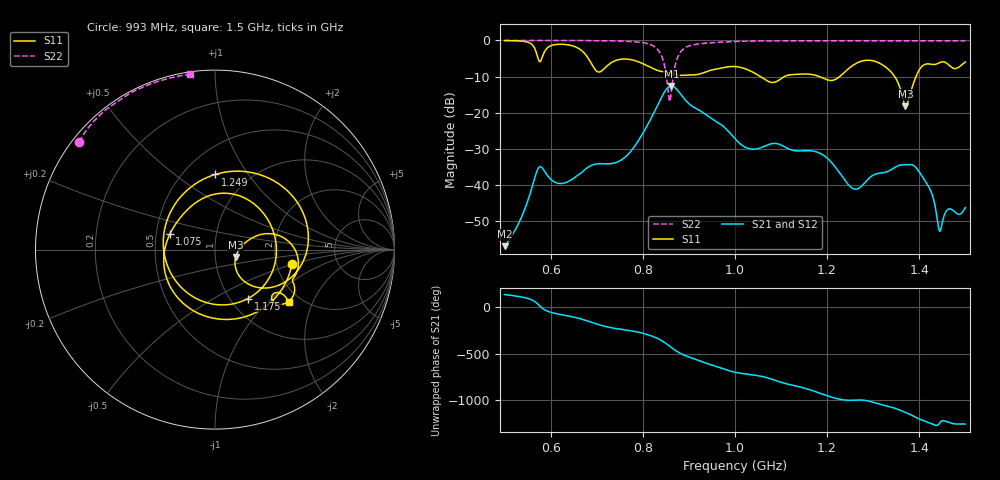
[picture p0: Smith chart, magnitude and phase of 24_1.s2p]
! TOUCHSTONE file generated by CST MICROWAVE STUDIO
! Date and time: Sat Nov 14 20:38:24 2020
! Project name: Scenario_1_Planar_Body_Tissue_Out_of_Line_v2.cst
! Parameters = {dy1=-51.9; L_HA=400; Ltissue=700; MT=2.54; Rad_Dielectric=30; Rad_Lower=7.3; Rad_Upper=30; Wtissue=700; a_HA=580; a_WG=246; b_HA=500; b_WG=121; c_HA=0; c_WG=187; d_feed=85; dx1=173; h_feed=15; h_lower=18; h_upper=40; hfat=3; hgap=25; hmuscle=50; hskin=1.5}
! Header version: 2018
! Port assignment regex: !\s*Touchstone port\s*([0-9]+)\s*=\s*(CST MWS port|CST DS port)\s*([0-9]+|Zmin|Zmax)\s*\(\"(.*)\"\)(\s*mode\s*([0-9]+))?.*
! Touchstone port assignment:
! Touchstone port 1 = CST MWS port 1 ("")
! Touchstone port 2 = CST MWS port 2 ("")
# GHz S DB R 50
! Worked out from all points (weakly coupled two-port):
!   1003 points, 500 MHz to 1.5 GHz, reference 50 ohm
!   highest |S21| = -12.63 dB at 862 MHz (marker M1); lowest = -57.0 dB at 500 MHz (marker M2)
!   lowest |S11| = -18.2 dB at 1.37 GHz (marker M3), VSWR 1.28, Z = 62.8 - j5.19 ohm
!   |S11| at or under -10 dB: 1.055 GHz to 1.107 GHz (52.21 MHz wide, 4.83 % of centre); 1.183 GHz to 1.227 GHz (44.25 MHz wide, 3.67 % of centre); 1.346 GHz to 1.393 GHz (46.34 MHz wide, 3.38 % of centre)
!   |S22| runs from -16.9 to 0.0 dB; largest |S21 - S12| = 3.9e-05
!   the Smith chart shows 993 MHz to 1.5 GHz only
!   S11 on the Smith chart (normalised r, x): 993 MHz: 2.43, -0.49; 1.075 GHz: 0.59, +0.11; 1.175 GHz: 1.20, -0.74; 1.249 GHz: 0.70, +0.71; 1.5 GHz: 1.72, -1.35
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0.5  -0.04 -121.8  -57.00 132.0  -57.00 132.0  -0.01 151.2
0.575  -5.75 -162.2  -35.11 16.1  -35.11 16.1  -0.02 146.0
0.627  -1.07 172.9  -39.57 -86.9  -39.57 -86.9  -0.03 142.0
0.667  -2.79 108.2  -36.64 -130.8  -36.64 -130.8  -0.04 138.4
0.692  -7.20 24.1  -34.44 -170.5  -34.44 -170.5  -0.06 135.8
0.716  -7.84 -93.3  -34.18 153.7  -34.18 153.7  -0.09 132.9
0.755  -5.17 167.2  -32.98 118.5  -32.98 118.5  -0.19 126.6
0.792  -6.00 97.0  -27.43 87.3  -27.43 87.3  -0.48 116.6
0.834  -8.39 7.9  -17.44 17.1  -17.44 17.1  -2.79 84.0
0.862  -9.08 -68.2  -12.63 -75.3  -12.63 -75.3  -13.85 -100.7
0.893  -9.62 -152.6  -16.61 -163.7  -16.61 -163.7  -1.92 173.1
0.945  -8.35 85.9  -21.30 105.0  -21.30 105.0  -0.68 149.6
0.993  -7.22 -10.8  -26.24 28.5  -26.24 28.5  -0.32 141.6
1  -7.23 -25.0  -27.25 20.5  -27.25 20.5  -0.28 140.6
1.075  -11.50 161.4  -28.75 -45.8  -28.75 -45.8  -0.13 132.1
1.167  -9.44 -38.9  -30.61 -174.5  -30.61 -174.5  -0.11 124.2
1.175  -9.66 -56.1  -30.82 172.1  -30.82 172.1  -0.11 123.6
1.249  -7.56 89.8  -40.35 80.2  -40.35 80.2  -0.08 118.0
1.334  -8.13 -31.6  -36.15 14.3  -36.15 14.3  -0.09 111.6
1.37  -18.24 -19.4  -34.43 -49.4  -34.43 -49.3  -0.09 108.8
1.444  -6.13 -26.0  -52.85 -163.7  -52.85 -163.7  -0.11 102.9
1.5  -5.96 -35.5  -46.30 -174.5  -46.30 -174.5  -0.12 98.0
